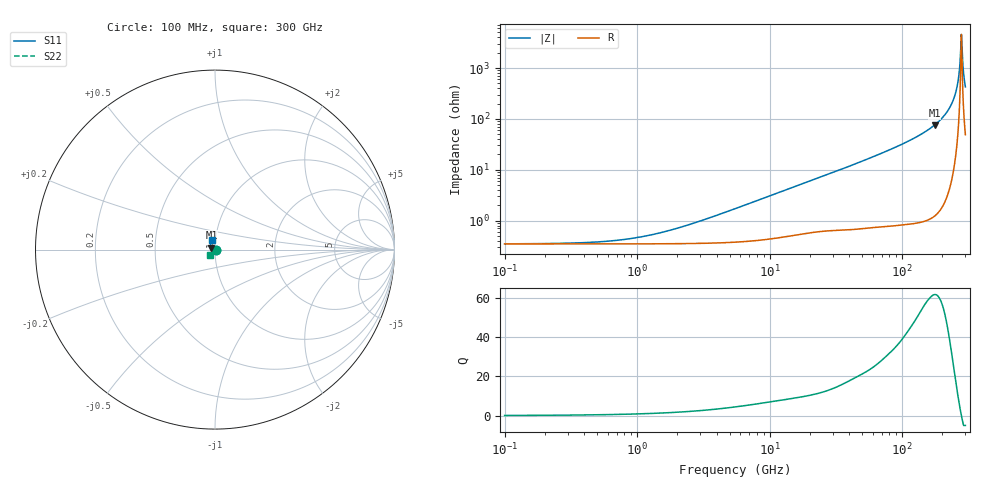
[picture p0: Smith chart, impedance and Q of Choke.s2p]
#  Hz  S  RI  R  50
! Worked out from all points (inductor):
!   3000 points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, 100 MHz to 300 GHz, reference 50 ohm
!   read as 1/Y11, port 2 shorted: L = 48.5 pH near 3.6 GHz
!   highest Q = 61.7 at 175.4 GHz (marker M1), where L = 68.4 pH
!   self-resonance near 279.9 GHz
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1e8  0.00358 1.27e-05  0.9966 -0.000595  0.9965 -0.000599  0.00348 8.23e-06
5e9  0.00376 0.000595  0.9959 -0.0297  0.9959 -0.0299  0.00373 0.000357
1.67e10  0.00499 0.000923  0.9898 -0.0972  0.9898 -0.0981  0.00543 -0.000155
2.43e10  0.00549 0.000276  0.9839 -0.1398  0.9837 -0.1412  0.00625 -0.00146
2.92e10  0.00548 -0.000257  0.9795 -0.1672  0.9791 -0.1688  0.00648 -0.00239
3.47e10  0.00523 -0.000796  0.9736 -0.198  0.9731 -0.1998  0.00658 -0.00334
5.01e10  0.00395 -0.00172  0.9517 -0.2828  0.9509 -0.2855  0.00682 -0.00577
7.3e10  0.00108 -0.00261  0.906 -0.4044  0.9043 -0.4079  0.00665 -0.00987
7.98e10  -8.28e-05 -0.00265  0.8893 -0.4392  0.8874 -0.443  0.00644 -0.0111
8.37e10  -0.000786 -0.00261  0.8792 -0.4588  0.8771 -0.4628  0.0063 -0.0118
8.78e10  -0.00155 -0.00252  0.8681 -0.4792  0.8658 -0.4834  0.00613 -0.0125
1.001e11  -0.00395 -0.00201  0.8321 -0.5389  0.829 -0.5433  0.00546 -0.0148
1.119e11  -0.00645 -0.00113  0.7936 -0.5936  0.79 -0.5983  0.00456 -0.0169
1.231e11  -0.00893 0.000135  0.7539 -0.6429  0.7494 -0.6479  0.00355 -0.0188
1.356e11  -0.0117 0.00205  0.7059 -0.6949  0.7006 -0.7  0.0022 -0.0209
1.501e11  -0.0148 0.00486  0.6457 -0.7508  0.6395 -0.7558  0.000341 -0.0232
1.754e11  -0.0196 0.0114  0.5306 -0.8357  0.5224 -0.8403  -0.00352 -0.0267
2.001e11  -0.0229 0.0193  0.4076 -0.9016  0.3975 -0.9056  -0.00799 -0.0293
2.256e11  -0.0244 0.0285  0.272 -0.9509  0.2602 -0.9536  -0.0131 -0.031
2.501e11  -0.0238 0.0379  0.1363 -0.9793  0.123 -0.9802  -0.0183 -0.0315
2.741e11  -0.0211 0.0466  0.000833 -0.9886  -0.0139 -0.9874  -0.0232 -0.0308
3e11  -0.0155 0.0549  -0.1455 -0.9772  -0.1611 -0.9737  -0.028 -0.0288
